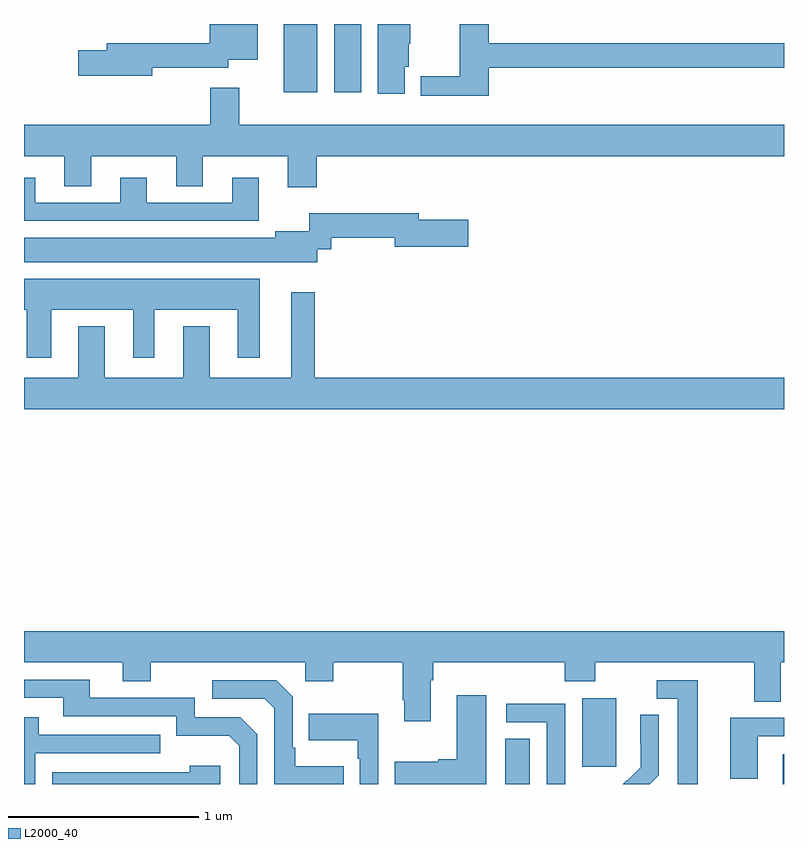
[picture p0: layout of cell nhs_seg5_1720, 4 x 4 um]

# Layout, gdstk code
import gdstk
lib = gdstk.Library(unit=1e-6, precision=1e-09)
def R(c, l, rs):  # rectangles x0, y0, x1, y1
    for r in rs: c.add(gdstk.rectangle(r[:2], r[2:], *l))
def P(c, l, *ps):  # polygons
    for p in ps: c.add(gdstk.Polygon(p, *l))
L2000_40 = (2000, 40)

nhs_seg5_1720 = lib.new_cell('nhs_seg5_1720')
R(nhs_seg5_1720, L2000_40, [(217.532,842.799,217.663,843.038), (218.993,842.799,219,842.956), (217.937,842.889,218.116,843.25), (216.368,846.44,216.544,846.799), (216.632,846.44,216.775,846.799)])
P(nhs_seg5_1720, L2000_40, [(217.445,846.57),(219,846.57),(219,846.698),(217.445,846.698),(217.445,846.799),(217.294,846.799),(217.294,846.524),(217.089,846.524),(217.089,846.422),(217.445,846.422)],
  [(215.674,846.57),(216.076,846.57),(216.076,846.611),(216.229,846.611),(216.229,846.799),(215.978,846.799),(215.978,846.698),(215.435,846.698),(215.435,846.662),(215.286,846.662),(215.286,846.527),(215.674,846.527)],
  [(217.003,846.573),(217.024,846.573),(217.024,846.696),(217.033,846.696),(217.033,846.799),(216.863,846.799),(216.863,846.432),(217.003,846.432)],
  [(216.542,846.104),(219,846.104),(219,846.268),(216.133,846.268),(216.133,846.463),(215.981,846.463),(215.981,846.268),(215,846.268),(215,846.104),(215.213,846.104),(215.213,845.944),(215.353,845.944),(215.353,846.104),(215.801,846.104),(215.801,845.944),(215.941,845.944),(215.941,846.104),(216.389,846.104),(216.389,845.94),(216.542,845.94)],
  [(216.235,845.989),(216.095,845.989),(216.095,845.859),(215.647,845.859),(215.647,845.989),(215.507,845.989),(215.507,845.859),(215.059,845.859),(215.059,845.989),(215,845.989),(215,845.763),(216.235,845.763)],
  [(216.544,845.613),(216.616,845.613),(216.616,845.674),(216.95,845.674),(216.95,845.627),(217.339,845.627),(217.339,845.769),(217.078,845.769),(217.078,845.803),(216.502,845.803),(216.502,845.709),(216.323,845.709),(216.323,845.674),(215,845.674),(215,845.546),(216.544,845.546)],
  [(215.143,845.294),(215.576,845.294),(215.576,845.043),(215.686,845.043),(215.686,845.294),(216.125,845.294),(216.125,845.043),(216.241,845.043),(216.241,845.458),(215,845.458),(215,845.294),(215.015,845.294),(215.015,845.043),(215.143,845.043)],
  [(219,844.936),(216.529,844.936),(216.529,845.386),(216.407,845.386),(216.407,844.936),(215.977,844.936),(215.977,845.209),(215.837,845.209),(215.837,844.936),(215.425,844.936),(215.425,845.209),(215.285,845.209),(215.285,844.936),(215,844.936),(215,844.772),(219,844.772)],
  [(217.141,843.344),(217.154,843.344),(217.154,843.44),(217.847,843.44),(217.847,843.341),(218.007,843.341),(218.007,843.44),(218.843,843.44),(218.843,843.232),(218.983,843.232),(218.983,843.44),(219,843.44),(219,843.604),(215,843.604),(215,843.44),(215.519,843.44),(215.519,843.341),(215.667,843.341),(215.667,843.44),(216.48,843.44),(216.48,843.341),(216.627,843.341),(216.627,843.44),(216.994,843.44),(216.994,843.241),(217.001,843.241),(217.001,843.129),(217.141,843.129)],
  [(216.228,843.06),(216.138,843.15),(215.898,843.15),(215.898,843.252),(215.347,843.252),(215.347,843.348),(215,843.348),(215,843.252),(215.207,843.252),(215.207,843.156),(215.802,843.156),(215.802,843.053),(216.079,843.053),(216.132,843),(216.132,842.799),(216.228,842.799)],
  [(216.683,842.893),(216.427,842.893),(216.427,842.989),(216.414,842.989),(216.414,843.258),(216.327,843.345),(215.991,843.345),(215.991,843.249),(216.267,843.249),(216.318,843.198),(216.318,842.799),(216.683,842.799)],
  [(218.545,843.345),(218.331,843.345),(218.331,843.249),(218.441,843.249),(218.441,842.799),(218.545,842.799)],
  [(217.432,843.265),(217.277,843.265),(217.277,842.93),(217.181,842.93),(217.181,842.917),(216.951,842.917),(216.951,842.799),(217.432,842.799)],
  [(217.848,843.222),(217.539,843.222),(217.539,843.123),(217.752,843.123),(217.752,842.799),(217.848,842.799)],
  [(216.864,843.169),(216.499,843.169),(216.499,843.029),(216.756,843.029),(216.756,842.933),(216.768,842.933),(216.768,842.799),(216.864,842.799)],
  [(218.34,842.846),(218.34,843.164),(218.244,843.164),(218.244,843.01),(218.246,843.01),(218.246,842.888),(218.175,842.817),(218.172,842.82),(218.151,842.799),(218.293,842.799)],
  [(215.058,842.961),(215.717,842.961),(215.717,843.057),(215.077,843.057),(215.077,843.151),(215,843.151),(215,842.799),(215.058,842.799)],
  [(218.862,843.051),(219,843.051),(219,843.147),(218.717,843.147),(218.717,842.827),(218.862,842.827)],
  [(216.034,842.896),(215.873,842.896),(215.873,842.862),(215.148,842.862),(215.148,842.799),(216.034,842.799)])

lib.write_gds('nhs_seg5_1720.gds')
